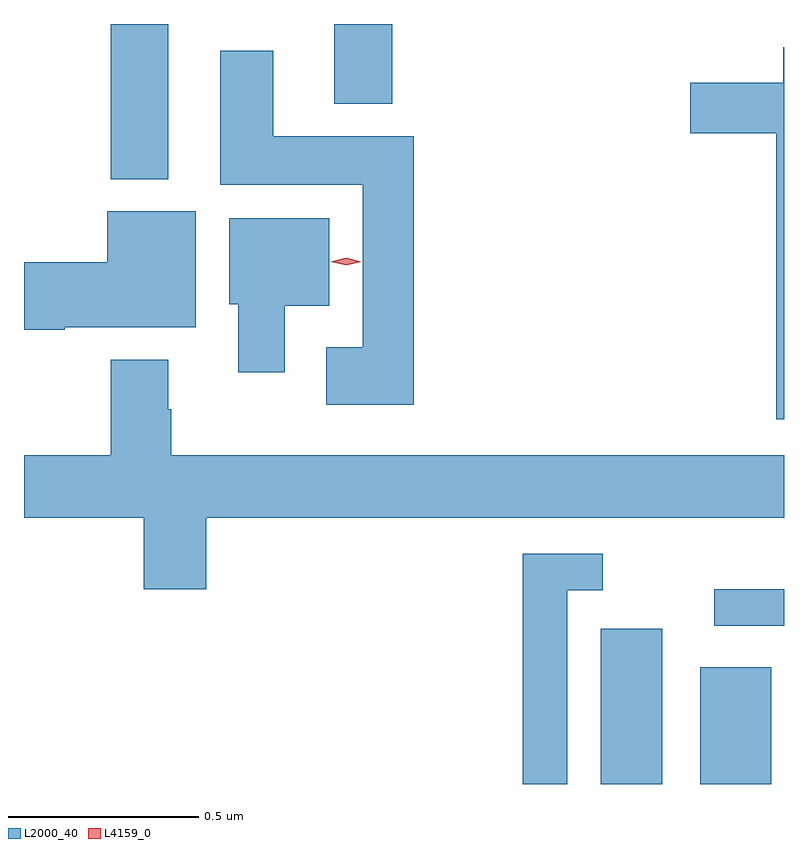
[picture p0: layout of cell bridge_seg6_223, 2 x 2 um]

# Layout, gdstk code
import gdstk
lib = gdstk.Library(unit=1e-6, precision=1e-09)
def R(c, l, rs):  # rectangles x0, y0, x1, y1
    for r in rs: c.add(gdstk.rectangle(r[:2], r[2:], *l))
def P(c, l, *ps):  # polygons
    for p in ps: c.add(gdstk.Polygon(p, *l))
L2000_40 = (2000, 40)
L4159_0 = (4159, 0)

bridge_seg6_223 = lib.new_cell('bridge_seg6_223')
R(bridge_seg6_223, L2000_40, [(214.163,973.275,214.324,973.684), (214.424,973.275,214.612,973.582), (214.461,973.692,214.645,973.788), (212.873,974.867,213.025,975.275), (213.461,975.065,213.614,975.275)])
P(bridge_seg6_223, L2000_40, [(214.645,975.214),(214.643,975.214),(214.643,975.121),(214.398,975.121),(214.398,974.987),(214.624,974.987),(214.624,974.235),(214.645,974.235)],
  [(213.671,974.98),(213.301,974.98),(213.301,975.205),(213.161,975.205),(213.161,974.852),(213.536,974.852),(213.536,974.425),(213.441,974.425),(213.441,974.273),(213.671,974.273)],
  [(212.752,974.477),(213.097,974.477),(213.097,974.782),(212.864,974.782),(212.864,974.648),(212.645,974.648),(212.645,974.47),(212.752,974.47)],
  [(213.331,974.534),(213.448,974.534),(213.448,974.764),(213.185,974.764),(213.185,974.538),(213.209,974.538),(213.209,974.358),(213.331,974.358)],
  [(213.124,973.976),(214.645,973.976),(214.645,974.14),(213.033,974.14),(213.033,974.261),(213.025,974.261),(213.025,974.392),(212.873,974.392),(212.873,974.14),(212.645,974.14),(212.645,973.976),(212.96,973.976),(212.96,973.788),(213.124,973.788)],
  [(214.074,973.785),(214.168,973.785),(214.168,973.881),(213.958,973.881),(213.958,973.275),(214.074,973.275)])
P(bridge_seg6_223, L4159_0, [(213.493,974.64),(213.452,974.65),(213.452,974.65),(213.452,974.65),(213.493,974.66),(213.533,974.65),(213.533,974.65),(213.533,974.65)])

lib.write_gds('bridge_seg6_223.gds')
